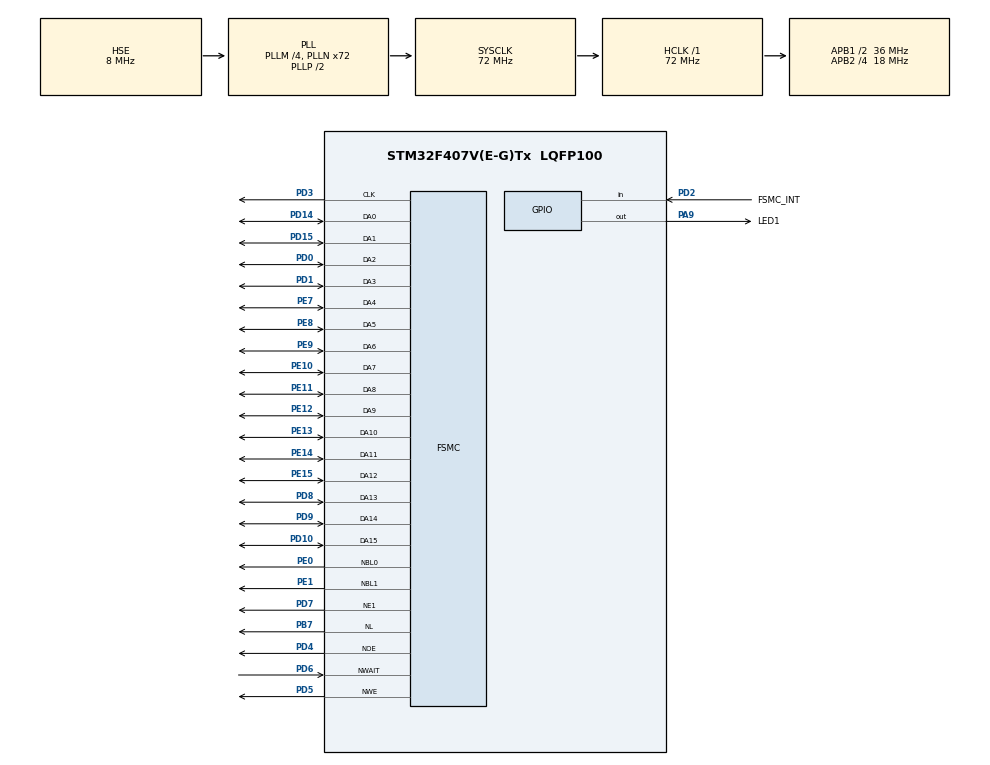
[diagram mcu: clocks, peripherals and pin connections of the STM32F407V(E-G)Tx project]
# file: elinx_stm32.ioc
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FSMC.AddressHoldTime1=3
FSMC.BusTurnAroundDuration1=0
FSMC.CLKDivision1=4
FSMC.WriteOperation1=FSMC_WRITE_OPERATION_ENABLE
Mcu.Family=STM32F4
Mcu.Name=STM32F407V(E-G)Tx
Mcu.Package=LQFP100
NVIC.PriorityGroup=NVIC_PRIORITYGROUP_4
NVIC.TIM6_DAC_IRQn=true\:0\:0\:false\:false\:true\:true\:true\:true
PA13.Mode=Serial_Wire
PA13.Signal=SYS_JTMS-SWDIO
PA14.Mode=Serial_Wire
PA14.Signal=SYS_JTCK-SWCLK
PA9.GPIO_Label=LED1
PA9.GPIO_Speed=GPIO_SPEED_FREQ_VERY_HIGH
PA9.Signal=GPIO_Output
PB7.Signal=FSMC_NL
PD0.Mode=16b-da1
PD0.Signal=FSMC_DA2
PD1.Mode=16b-da1
PD1.Signal=FSMC_DA3
PD10.Mode=16b-da1
PD10.Signal=FSMC_DA15
PD14.Mode=16b-da1
PD14.Signal=FSMC_DA0
PD15.Mode=16b-da1
PD15.Signal=FSMC_DA1
PD2.GPIO_Label=FSMC_INT
PD2.Signal=GPIO_Input
PD3.Mode=BurstReadWrite1
PD3.Signal=FSMC_CLK
PD4.Mode=MuxedPsram1
PD4.Signal=FSMC_NOE
PD5.Mode=MuxedPsram1
PD5.Signal=FSMC_NWE
PD6.Mode=SynchronousWait1
PD6.Signal=FSMC_NWAIT
PD7.Mode=NorPsramChipSelect1_1
PD7.Signal=FSMC_NE1
PD8.Mode=16b-da1
PD8.Signal=FSMC_DA13
PD9.Mode=16b-da1
PD9.Signal=FSMC_DA14
PE0.Mode=2ByteEnable1
PE0.Signal=FSMC_NBL0
PE1.Mode=2ByteEnable1
PE1.Signal=FSMC_NBL1
PE10.Mode=16b-da1
PE10.Signal=FSMC_DA7
PE11.Mode=16b-da1
PE11.Signal=FSMC_DA8
PE12.Mode=16b-da1
PE12.Signal=FSMC_DA9
PE13.Mode=16b-da1
PE13.Signal=FSMC_DA10
PE14.Mode=16b-da1
PE14.Signal=FSMC_DA11
PE15.Mode=16b-da1
PE15.Signal=FSMC_DA12
PE7.Mode=16b-da1
PE7.Signal=FSMC_DA4
PE8.Mode=16b-da1
PE8.Signal=FSMC_DA5
PE9.Mode=16b-da1
PE9.Signal=FSMC_DA6
PH0-OSC_IN.Mode=HSE-External-Oscillator
PH0-OSC_IN.Signal=RCC_OSC_IN
PH1-OSC_OUT.Mode=HSE-External-Oscillator
PH1-OSC_OUT.Signal=RCC_OSC_OUT
ProjectManager.HeapSize=0x200
ProjectManager.StackSize=0x400
ProjectManager.TargetToolchain=MDK-ARM V5.27
RCC.48MHZClocksFreq_Value=36000000
RCC.AHBFreq_Value=72000000
RCC.APB1CLKDivider=RCC_HCLK_DIV2
RCC.APB1Freq_Value=36000000
RCC.APB1TimFreq_Value=72000000
RCC.APB2CLKDivider=RCC_HCLK_DIV4
RCC.APB2Freq_Value=18000000
RCC.APB2TimFreq_Value=36000000
RCC.CortexFreq_Value=72000000
RCC.HCLKFreq_Value=72000000
RCC.HSE_VALUE=8000000
RCC.HSI_VALUE=16000000
RCC.LSE_VALUE=32768
RCC.PLLM=4
RCC.PLLN=72
RCC.PLLSourceVirtual=RCC_PLLSOURCE_HSE
RCC.SYSCLKFreq_VALUE=72000000
RCC.SYSCLKSource=RCC_SYSCLKSOURCE_PLLCLK
RCC.VCOOutputFreq_Value=144000000
SH.FSMC_NL.0=FSMC_NL,AddressValid1
TIM6.AutoReloadPreload=TIM_AUTORELOAD_PRELOAD_ENABLE
TIM6.Period=999
TIM6.Prescaler=4799
VP_TIM6_VS_ClockSourceINT.Mode=Enable_Timer
board=custom

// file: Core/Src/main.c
/* USER CODE BEGIN Header */
/**
  ******************************************************************************
  * @file           : main.c
  * @brief          : Main program body
  ******************************************************************************
  * @attention
  *
  * Copyright (c) 2025 STMicroelectronics.
  * All rights reserved.
  *
  * This software is licensed under terms that can be found in the LICENSE file
  * in the root directory of this software component.
  * If no LICENSE file comes with this software, it is provided AS-IS.
  *
  ******************************************************************************
  */
/* USER CODE END Header */
#include "main.h"
#include "tim.h"
#include "gpio.h"
#include "fsmc.h"

/* USER CODE BEGIN PM */
#define SRAM_TEST_N 255
/* USER CODE END PM */

/* USER CODE BEGIN PV */
static uint8_t tim6_elapsed_flag = 0;
static uint16_t sram_wbuf[SRAM_TEST_N];
static uint16_t sram_rbuf[SRAM_TEST_N];
static uint8_t sram_test_success;
/* USER CODE END PV */

void SystemClock_Config(void);

int main(void)
{

  /* MCU Configuration--------------------------------------------------------*/

  /* Reset of all peripherals, Initializes the Flash interface and the Systick. */
  HAL_Init();

  /* Configure the system clock */
  SystemClock_Config();

  /* Initialize all configured peripherals */
  MX_GPIO_Init();
  MX_FSMC_Init();
  MX_TIM6_Init();
  /* USER CODE BEGIN 2 */
  __HAL_TIM_SET_PRESCALER(&htim6, 36 - 1);
  __HAL_TIM_SET_AUTORELOAD(&htim6, 1999 - 1);

  HAL_Delay(1000);

  volatile uint16_t* sram_ptr = (uint16_t*)0x60000000;

  for(int i = 0;i < SRAM_TEST_N;i++){
	sram_wbuf[i] = ((i + 1) << 8) | ((i + 1) & 0x00FF);
	sram_rbuf[i] = 0x0000;
  }

  /*
  for(int i = 0;i < SRAM_TEST_N;i++){
	sram_ptr[i] = sram_wbuf[i];
  }
  */

  sram_ptr[0] = sram_wbuf[0];

  for(int i = 0;i < SRAM_TEST_N;i++){
	sram_rbuf[i] = sram_ptr[i];
  }

  sram_test_success = 0x01;
  for(int i = 0;i < SRAM_TEST_N;i++){
	if(sram_rbuf[i] != sram_wbuf[i]){
		sram_test_success = 0x00;
	}
  }

  if(sram_test_success){
	HAL_TIM_Base_Start_IT(&htim6);
  }

  /* USER CODE END 2 */

  /* Infinite loop */
  while (1)
  {

    /* USER CODE BEGIN 3 */
	if(tim6_elapsed_flag){
		HAL_GPIO_TogglePin(LED1_GPIO_Port, LED1_Pin);

		tim6_elapsed_flag = 0;
	}
  }
  /* USER CODE END 3 */
}

void SystemClock_Config(void)
{
  RCC_OscInitTypeDef RCC_OscInitStruct = {0};
  RCC_ClkInitTypeDef RCC_ClkInitStruct = {0};

  /** Configure the main internal regulator output voltage
  */
  __HAL_RCC_PWR_CLK_ENABLE();
  __HAL_PWR_VOLTAGESCALING_CONFIG(PWR_REGULATOR_VOLTAGE_SCALE1);

  /** Initializes the RCC Oscillators according to the specified parameters
  * in the RCC_OscInitTypeDef structure.
  */
  RCC_OscInitStruct.OscillatorType = RCC_OSCILLATORTYPE_HSE;
  RCC_OscInitStruct.HSEState = RCC_HSE_ON;
  RCC_OscInitStruct.PLL.PLLState = RCC_PLL_ON;
  RCC_OscInitStruct.PLL.PLLSource = RCC_PLLSOURCE_HSE;
  RCC_OscInitStruct.PLL.PLLM = 4;
  RCC_OscInitStruct.PLL.PLLN = 72;
  RCC_OscInitStruct.PLL.PLLP = RCC_PLLP_DIV2;
  RCC_OscInitStruct.PLL.PLLQ = 4;
  if (HAL_RCC_OscConfig(&RCC_OscInitStruct) != HAL_OK)
  {
    Error_Handler();
  }

  /** Initializes the CPU, AHB and APB buses clocks
  */
  RCC_ClkInitStruct.ClockType = RCC_CLOCKTYPE_HCLK|RCC_CLOCKTYPE_SYSCLK
                              |RCC_CLOCKTYPE_PCLK1|RCC_CLOCKTYPE_PCLK2;
  RCC_ClkInitStruct.SYSCLKSource = RCC_SYSCLKSOURCE_PLLCLK;
  RCC_ClkInitStruct.AHBCLKDivider = RCC_SYSCLK_DIV1;
  RCC_ClkInitStruct.APB1CLKDivider = RCC_HCLK_DIV2;
  RCC_ClkInitStruct.APB2CLKDivider = RCC_HCLK_DIV4;

  if (HAL_RCC_ClockConfig(&RCC_ClkInitStruct, FLASH_LATENCY_2) != HAL_OK)
  {
    Error_Handler();
  }
}

/* USER CODE BEGIN 4 */
void HAL_TIM_PeriodElapsedCallback(TIM_HandleTypeDef *htim){
	if(htim->Instance == htim6.Instance){
		tim6_elapsed_flag = 1;
	}
}
/* USER CODE END 4 */

void Error_Handler(void)
{
  __disable_irq();
  while (1)
  {
  }
}
